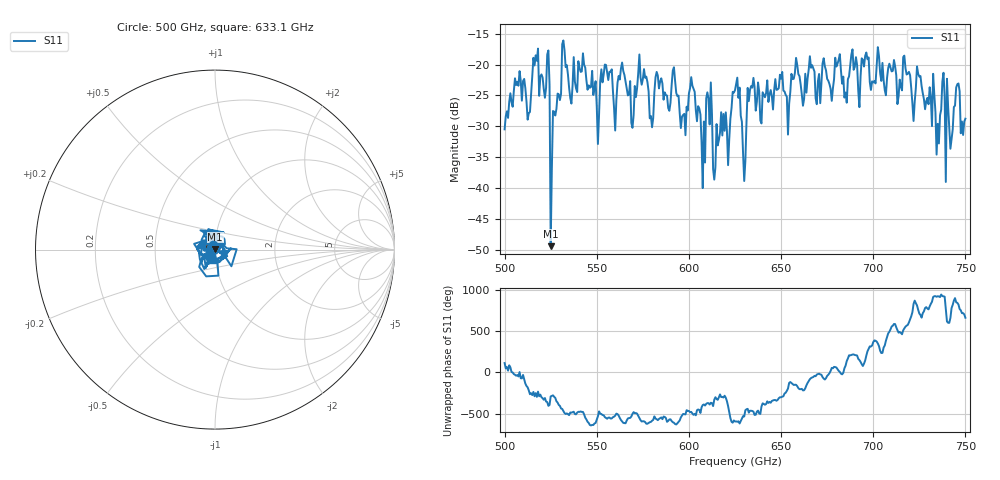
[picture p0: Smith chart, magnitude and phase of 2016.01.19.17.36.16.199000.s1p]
!Created with skrf (http://scikit-rf.org).
# GHz S RI R 50.0
!freq ReS11 ImS11
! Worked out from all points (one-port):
!   401 points, 500 GHz to 750 GHz, reference 50 ohm
!   lowest |S11| = -49.5 dB at 525 GHz (marker M1), VSWR 1.01, Z = 50.1 + j0.315 ohm
!   |S11| at or under -10 dB: start of sweep to end of sweep
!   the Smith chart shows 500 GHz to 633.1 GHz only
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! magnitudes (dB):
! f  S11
! 500 GHz  -30.5
! 506.9 GHz  -22.8
! 513.1 GHz  -27.9
! 516.9 GHz  -18.5
! 523.1 GHz  -18.4
! 525 GHz  -49.5
! 526.2 GHz  -27.5
! 531.2 GHz  -16.7
! 550 GHz  -26.9
! 562.5 GHz  -22.4
! 570 GHz  -28.2
! 574.4 GHz  -23.3
! 579.4 GHz  -28.3
! 583.1 GHz  -21.8
! 593.8 GHz  -25.1
! 601.9 GHz  -23.4
! 607.5 GHz  -40.0
! 610.6 GHz  -25.5
! 614.4 GHz  -36.6
! 625 GHz  -24.2
! 630 GHz  -38.9
! 634.4 GHz  -23.7
! 656.2 GHz  -22.4
! 687.5 GHz  -20.2
! 718.8 GHz  -21.5
! 735 GHz  -29.6
! 745.6 GHz  -23.2
! 750 GHz  -28.8
